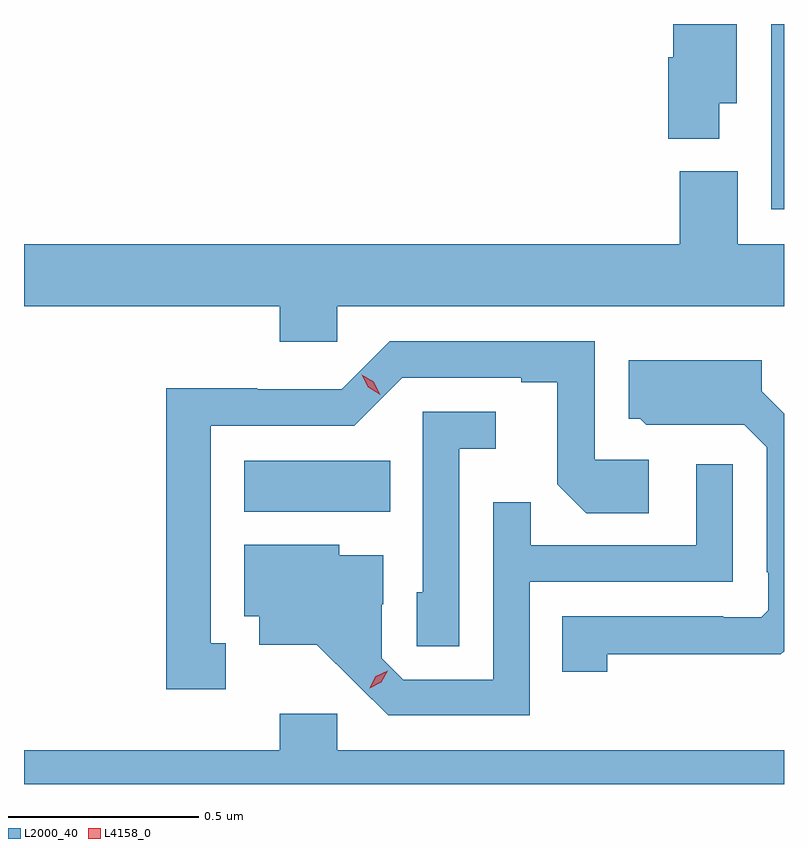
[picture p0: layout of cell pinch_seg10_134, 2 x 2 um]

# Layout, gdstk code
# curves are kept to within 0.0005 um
import gdstk
lib = gdstk.Library(unit=1e-6, precision=1e-09)
def R(c, l, rs):  # rectangles x0, y0, x1, y1
    for r in rs: c.add(gdstk.rectangle(r[:2], r[2:], *l))
def P(c, l, *ps):  # polygons
    for p in ps: c.add(gdstk.Polygon(p, *l))
L2000_40 = (2000, 40)
L4158_0 = (4158, 0)

pinch_seg10_134 = lib.new_cell('pinch_seg10_134')
R(pinch_seg10_134, L2000_40, [(712.352,1282.46,712.736,1282.594), (713.739,1283.256,713.772,1283.743)])
P(pinch_seg10_134, L2000_40, [(713.602,1283.534),(713.647,1283.534),(713.647,1283.743),(713.48,1283.743),(713.48,1283.655),(713.468,1283.655),(713.468,1283.441),(713.602,1283.441)],
  [(712.596,1283),(713.772,1283),(713.772,1283.164),(713.65,1283.164),(713.65,1283.356),(713.498,1283.356),(713.498,1283.164),(711.772,1283.164),(711.772,1283),(712.445,1283),(712.445,1282.907),(712.596,1282.907)],
  [(712.303,1282.113),(712.264,1282.113),(712.264,1282.686),(712.641,1282.686),(712.767,1282.812),(713.081,1282.812),(713.081,1282.8),(713.175,1282.8),(713.175,1282.532),(713.251,1282.456),(713.416,1282.456),(713.416,1282.596),(713.274,1282.596),(713.274,1282.908),(712.734,1282.908),(712.608,1282.782),(712.386,1282.782),(712.386,1282.784),(712.146,1282.784),(712.146,1281.993),(712.303,1281.993)],
  [(713.307,1282.084),(713.663,1282.084),(713.663,1282.085),(713.764,1282.085),(713.772,1282.093),(713.772,1282.717),(713.713,1282.776),(713.713,1282.858),(713.363,1282.858),(713.363,1282.704),(713.394,1282.704),(713.41,1282.688),(713.544,1282.688),(713.544,1282.689),(713.667,1282.689),(713.727,1282.629),(713.727,1282.3),(713.73,1282.3),(713.73,1282.2),(713.712,1282.182),(713.612,1282.182),(713.612,1282.185),(713.188,1282.185),(713.188,1282.038),(713.307,1282.038)],
  [(712.917,1282.625),(713.014,1282.625),(713.014,1282.722),(712.821,1282.722),(712.821,1282.248),(712.806,1282.248),(712.806,1282.105),(712.917,1282.105)],
  [(713.103,1282.275),(713.637,1282.275),(713.637,1282.585),(713.541,1282.585),(713.541,1282.371),(713.105,1282.371),(713.105,1282.484),(713.007,1282.484),(713.007,1282.017),(712.77,1282.017),(712.713,1282.074),(712.713,1282.216),(712.717,1282.216),(712.717,1282.345),(712.602,1282.345),(712.602,1282.372),(712.352,1282.372),(712.352,1282.185),(712.391,1282.185),(712.391,1282.109),(712.543,1282.109),(712.73,1281.924),(713.103,1281.924)],
  [(713.772,1281.832),(712.596,1281.832),(712.596,1281.928),(712.445,1281.928),(712.445,1281.832),(711.772,1281.832),(711.772,1281.743),(713.772,1281.743)])
P(pinch_seg10_134, L4158_0, [(712.682,1281.995),(712.682,1281.996),(712.698,1282.026),(712.729,1282.041),(712.729,1282.041),(712.729,1282.041),(712.712,1282.011),(712.682,1281.995)],
  [(712.709,1282.768),(712.678,1282.787),(712.661,1282.82),(712.661,1282.82),(712.661,1282.82),(712.692,1282.801),(712.709,1282.768),(712.709,1282.768)])

lib.write_gds('pinch_seg10_134.gds')
